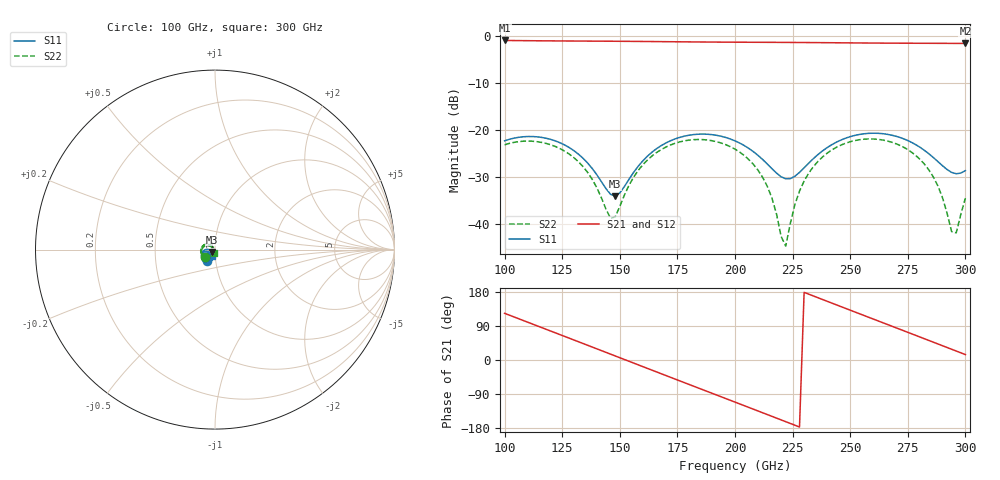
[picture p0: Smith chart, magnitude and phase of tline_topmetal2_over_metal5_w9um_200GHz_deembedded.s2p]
! Created with skrf 2.0.1 (http://scikit-rf.org).
# GHz S DB R 50.0
!freq dBS11 angS11 dBS21 angS21 dBS12 angS12 dBS22 angS22
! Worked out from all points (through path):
!   101 points, 100 GHz to 300 GHz, reference 50 ohm
!   highest |S21| = -1.03 dB at 100 GHz (marker M1); lowest = -1.7 dB at 300 GHz (marker M2)
!   group delay of S21, straight-line fit = 6.51 ps
!   lowest |S11| = -34.1 dB at 148 GHz (marker M3), VSWR 1.04, Z = 48.5 - j1.24 ohm
!   |S11| at or under -10 dB: start of sweep to end of sweep
!   |S22| runs from -44.7 to -21.9 dB; largest |S21 - S12| = 9.9e-14
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100  -22.32 -123.3  -1.03 123.2  -1.03 123.2  -23.17 -143.5
116  -21.60 -153.9  -1.10 85.7  -1.10 85.7  -22.66 -178.4
134  -26.00 179.1  -1.16 43.6  -1.16 43.6  -27.77 147.4
146  -33.68 -156.0  -1.19 15.4  -1.19 15.4  -38.77 -179.2
148  -34.06 -139.9  -1.20 10.7  -1.20 10.7  -38.46 -151.7
158  -27.71 -102.2  -1.23 -12.8  -1.23 -12.8  -28.60 -122.3
168  -23.33 -110.2  -1.28 -36.3  -1.28 -36.3  -24.18 -138.4
184  -20.92 -135.6  -1.35 -73.7  -1.35 -73.7  -22.04 -172.2
200  -22.33 -160.1  -1.40 -111.1  -1.40 -111.1  -24.09 152.9
212  -26.29 -167.8  -1.42 -139.2  -1.42 -139.2  -30.07 130.3
216  -28.22 -163.1  -1.43 -148.6  -1.43 -148.6  -34.42 127.8
220  -29.95 -150.7  -1.44 -158.0  -1.44 -158.0  -42.59 149.9
222  -30.39 -141.5  -1.44 -162.7  -1.44 -162.7  -44.68 -155.3
228  -29.02 -115.4  -1.46 -176.8  -1.46 -176.8  -32.99 -111.5
234  -26.11 -106.1  -1.48 169.0  -1.48 169.0  -27.82 -119.0
252  -21.18 -121.4  -1.55 126.8  -1.55 126.8  -22.27 -156.8
268  -21.12 -144.5  -1.60 89.4  -1.60 89.4  -22.62 167.8
284  -25.01 -158.1  -1.63 51.9  -1.63 51.9  -28.40 136.3
290  -27.58 -151.7  -1.64 37.8  -1.64 37.8  -34.31 133.6
294  -29.02 -139.0  -1.65 28.4  -1.65 28.4  -41.57 164.0
296  -29.31 -130.3  -1.65 23.7  -1.65 23.7  -41.87 -149.6
300  -28.65 -113.1  -1.66 14.3  -1.66 14.3  -34.49 -115.5
